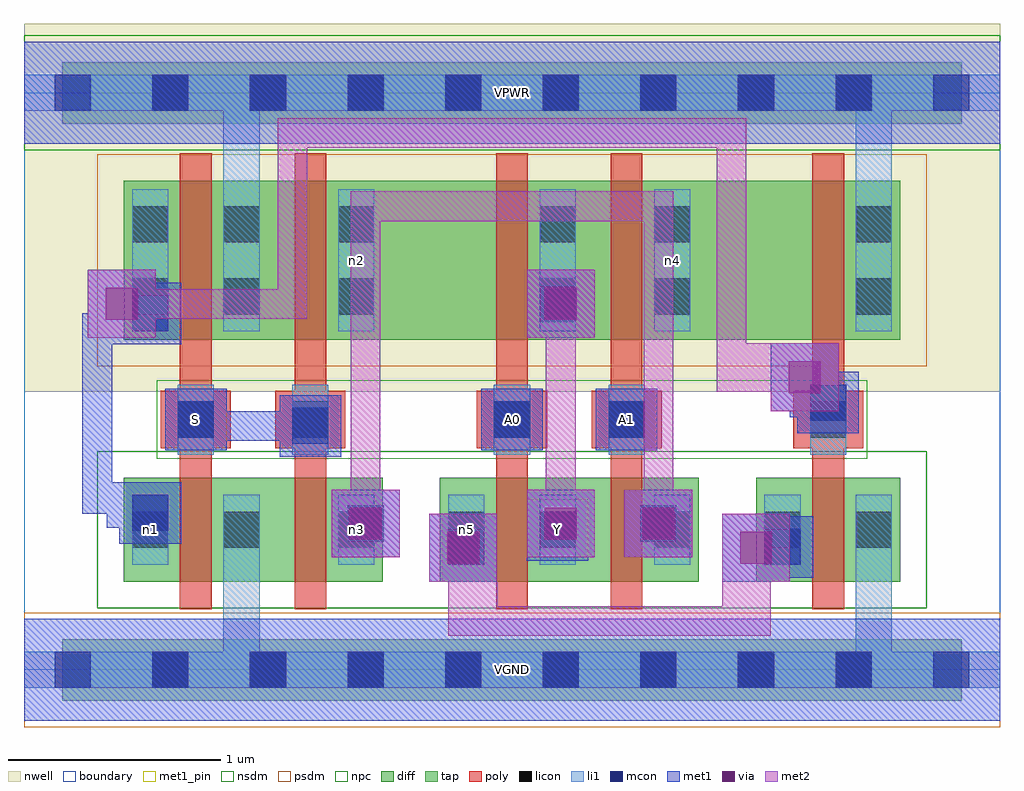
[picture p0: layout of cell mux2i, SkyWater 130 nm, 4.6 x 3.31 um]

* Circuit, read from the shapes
.subckt mux2i A0 A1 S VGND VPWR Y n1 n2 n3 n4 n5
XM1 VGND S n1 VGND sky130_fd_pr__nfet_01v8 w=0.49 l=0.15
XM2 n3 S VGND VGND sky130_fd_pr__nfet_01v8 w=0.49 l=0.15
XM3 Y A0 n5 VGND sky130_fd_pr__nfet_01v8 w=0.49 l=0.15
XM4 n3 A1 Y VGND sky130_fd_pr__nfet_01v8 w=0.49 l=0.15
XM5 VGND n1 n5 VGND sky130_fd_pr__nfet_01v8 w=0.49 l=0.15
XM6 VPWR S n1 VPWR sky130_fd_pr__pfet_01v8 w=0.75 l=0.15
XM7 n2 S VPWR VPWR sky130_fd_pr__pfet_01v8 w=0.75 l=0.15
XM8 Y A0 n2 VPWR sky130_fd_pr__pfet_01v8 w=0.75 l=0.15
XM9 n4 A1 Y VPWR sky130_fd_pr__pfet_01v8 w=0.75 l=0.15
XM10 VPWR n1 n4 VPWR sky130_fd_pr__pfet_01v8 w=0.75 l=0.15
.ends

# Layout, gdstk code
import gdstk
lib = gdstk.Library(unit=1e-6, precision=1e-09)
def R(c, l, rs):  # rectangles x0, y0, x1, y1
    for r in rs: c.add(gdstk.rectangle(r[:2], r[2:], *l))
def A(c, l, x, y, w, h, nx, ny, dx, dy):  # array of equal rectangles
    R(c, l, [(x+i*dx, y+j*dy, x+i*dx+w, y+j*dy+h) for i in range(nx) for j in range(ny)])
nwell = (64, 20)
diff = (65, 20)
tap = (65, 44)
poly = (66, 20)
licon = (66, 44)
li1 = (67, 20)
mcon = (67, 44)
met1_pin = (68, 16)
met1 = (68, 20)
via = (68, 44)
met2 = (69, 20)
nsdm = (93, 44)
psdm = (94, 20)
npc = (95, 20)
boundary = (235, 4)

mux2i = lib.new_cell('mux2i')
R(mux2i, nwell, [(0,1.31,4.6,3.045)])
R(mux2i, diff, [(0.47,0.415,1.69,0.905), (1.96,0.415,3.18,0.905), (3.45,0.415,4.13,0.905), (0.47,1.555,4.13,2.305)])
R(mux2i, tap, [(0.18,-0.145,4.42,0.145), (0.18,2.575,4.42,2.865)])
R(mux2i, poly, [(0.735,0.285,0.885,2.435), (1.275,0.285,1.425,2.435), (2.225,0.285,2.375,2.435), (2.765,0.285,2.915,2.435), (3.715,0.285,3.865,2.435), (0.645,1.045,0.975,1.315), (1.185,1.045,1.515,1.315), (2.135,1.045,2.465,1.315), (2.675,1.045,3.005,1.315), (3.625,1.045,3.955,1.315)])
A(mux2i, licon, 0.605, -0.085, 0.17, 0.17, 8, 2, 0.46, 2.72)
R(mux2i, licon, [(0.51,0.575,0.68,0.745), (0.94,0.575,1.11,0.745), (1.48,0.575,1.65,0.745), (2,0.575,2.17,0.745), (2.43,0.575,2.6,0.745), (2.97,0.575,3.14,0.745), (3.49,0.575,3.66,0.745), (3.92,0.575,4.09,0.745), (0.725,1.095,0.895,1.265), (1.265,1.095,1.435,1.265), (2.215,1.095,2.385,1.265), (2.755,1.095,2.925,1.265), (3.705,1.095,3.875,1.265), (0.51,1.675,0.68,1.845), (0.94,1.675,1.11,1.845), (1.48,1.675,1.65,1.845), (2.43,1.675,2.6,1.845), (2.97,1.675,3.14,1.845), (3.92,1.675,4.09,1.845), (0.51,2.015,0.68,2.185), (0.94,2.015,1.11,2.185), (1.48,2.015,1.65,2.185), (2.43,2.015,2.6,2.185), (2.97,2.015,3.14,2.185), (3.92,2.015,4.09,2.185)])
R(mux2i, li1, [(0,-0.085,4.6,0.085), (0.94,-0.085,1.11,0.825), (3.92,-0.085,4.09,0.825), (0.51,0.495,0.68,0.825), (0.94,0.495,1.11,0.825), (1.48,0.495,1.65,0.825), (2,0.495,2.17,0.825), (2.43,0.495,2.6,0.825), (2.97,0.495,3.14,0.825), (3.49,0.495,3.66,0.825), (3.92,0.495,4.09,0.825), (1.48,0.605,1.695,0.775), (2.905,0.605,3.14,0.775), (0.725,1.015,0.895,1.345), (1.265,1.015,1.435,1.345), (2.215,1.015,2.385,1.345), (2.755,1.015,2.925,1.345), (3.705,1.015,3.875,1.345), (0.51,1.595,0.68,2.265), (0.94,1.595,1.11,2.265), (0.94,1.595,1.11,2.805), (1.48,1.595,1.65,2.265), (2.43,1.595,2.6,2.265), (2.97,1.595,3.14,2.265), (3.92,1.595,4.09,2.265), (3.92,1.595,4.09,2.805), (0,2.635,4.6,2.805)])
A(mux2i, mcon, 0.145, -0.085, 0.17, 0.17, 10, 2, 0.46, 2.72)
R(mux2i, mcon, [(2,0.495,2.17,0.665), (3.49,0.495,3.66,0.665), (2.43,0.575,2.6,0.745), (1.525,0.605,1.695,0.775), (2.905,0.605,3.075,0.775), (0.51,0.655,0.68,0.825), (1.265,1.065,1.435,1.235), (0.725,1.095,0.895,1.265), (2.215,1.095,2.385,1.265), (2.755,1.095,2.925,1.265), (3.705,1.175,3.875,1.345), (0.51,1.595,0.68,1.765), (2.43,1.64,2.6,1.81)])
R(mux2i, met1_pin, [(0,-0.24,4.6,0.24), (2.37,0.515,2.66,0.805), (0.665,1.035,0.955,1.325), (2.155,1.035,2.445,1.325), (2.695,1.035,2.985,1.325), (0,2.48,4.6,2.96)])
R(mux2i, met1, [(0,-0.24,4.6,0.24), (1.91,0.415,2.23,0.735), (3.29,0.415,3.61,0.735), (1.94,0.435,2.23,0.725), (3.43,0.435,3.72,0.725), (2,0.505,2.14,0.65), (3.38,0.505,3.52,0.65), (2,0.51,2.155,0.65), (3.38,0.51,3.645,0.65), (2.37,0.515,2.66,0.805), (1.45,0.53,1.77,0.85), (2.37,0.53,2.69,0.85), (2.83,0.53,3.15,0.85), (1.465,0.545,1.755,0.835), (2.845,0.545,3.135,0.835), (0.45,0.595,0.74,0.885), (2.46,0.62,2.6,0.76), (0.39,0.67,0.665,0.81), (0.39,0.67,0.53,0.875), (0.275,0.735,0.53,0.875), (0.275,0.735,0.415,1.68), (0.415,0.735,0.45,0.885), (1.205,1.005,1.495,1.295), (0.665,1.035,0.955,1.325), (2.155,1.035,2.445,1.325), (2.695,1.035,2.985,1.325), (0.735,1.08,0.875,1.22), (0.735,1.08,1.22,1.22), (1.08,1.08,1.42,1.22), (3.645,1.115,3.935,1.405), (3.61,1.19,3.86,1.33), (3.61,1.19,3.75,1.45), (3.52,1.22,3.84,1.54), (0.415,1.535,0.45,1.68), (0.45,1.535,0.74,1.825), (0.275,1.54,0.53,1.68), (0.39,1.54,0.53,1.75), (0.39,1.54,0.53,1.795), (0.3,1.565,0.62,1.885), (2.37,1.565,2.69,1.885), (2.37,1.58,2.66,1.87), (0.39,1.61,0.665,1.75), (2.445,1.655,2.6,1.795), (0,2.48,4.6,2.96)])
R(mux2i, via, [(1.995,0.5,2.145,0.65), (3.375,0.5,3.525,0.65), (1.535,0.615,1.685,0.765), (2.455,0.615,2.605,0.765), (2.915,0.615,3.065,0.765), (3.605,1.305,3.755,1.455), (0.385,1.65,0.535,1.8), (2.455,1.65,2.605,1.8)])
R(mux2i, met2, [(2,0.16,2.14,0.645), (2,0.16,3.52,0.3), (3.38,0.16,3.52,0.645), (2,0.3,2.23,0.415), (3.29,0.3,3.52,0.415), (1.91,0.415,2.23,0.735), (3.29,0.415,3.61,0.735), (1.45,0.53,1.77,0.85), (2.37,0.53,2.69,0.85), (2.83,0.53,3.15,0.85), (1.54,0.62,1.68,2.255), (2.46,0.62,2.6,1.795), (2.92,0.62,3.06,2.255), (3.52,1.22,3.84,1.54), (3.265,1.31,3.405,2.6), (3.265,1.31,3.75,1.45), (3.405,1.31,3.52,1.54), (0.3,1.565,0.62,1.885), (2.37,1.565,2.69,1.885), (0.39,1.655,1.335,1.795), (1.195,1.655,1.335,2.6), (1.54,2.115,3.06,2.255), (1.195,2.46,3.405,2.6)])
R(mux2i, nsdm, [(0.345,0.29,4.255,1.03), (0,2.45,4.6,2.99)])
R(mux2i, psdm, [(0,-0.27,4.6,0.27), (0.345,1.43,4.255,2.43)])
R(mux2i, npc, [(0.625,0.995,3.975,1.365)])
R(mux2i, boundary, [(0,0,4.6,2.72)])
mux2i.add(gdstk.Label('n1', (0.595,0.66), layer=67, texttype=5))
mux2i.add(gdstk.Label('n3', (1.565,0.66), layer=67, texttype=5))
mux2i.add(gdstk.Label('n5', (2.085,0.66), layer=67, texttype=5))
mux2i.add(gdstk.Label('n2', (1.565,1.93), layer=67, texttype=5))
mux2i.add(gdstk.Label('n4', (3.055,1.93), layer=67, texttype=5))
mux2i.add(gdstk.Label('S', (0.81,1.18), layer=68, texttype=5))
mux2i.add(gdstk.Label('A0', (2.3,1.18), layer=68, texttype=5))
mux2i.add(gdstk.Label('A1', (2.84,1.18), layer=68, texttype=5))
mux2i.add(gdstk.Label('Y', (2.515,0.66), layer=68, texttype=5))
mux2i.add(gdstk.Label('VPWR', (2.3,2.72), layer=68, texttype=5))
mux2i.add(gdstk.Label('VGND', (2.3,0), layer=68, texttype=5))
mux2i.add(gdstk.Label('S', (0.81,1.18), layer=68, texttype=16))
mux2i.add(gdstk.Label('A0', (2.3,1.18), layer=68, texttype=16))
mux2i.add(gdstk.Label('A1', (2.84,1.18), layer=68, texttype=16))
mux2i.add(gdstk.Label('Y', (2.515,0.66), layer=68, texttype=16))
mux2i.add(gdstk.Label('VPWR', (2.3,2.72), layer=68, texttype=16))
mux2i.add(gdstk.Label('VGND', (2.3,0), layer=68, texttype=16))

lib.write_gds('mux2i.gds')
